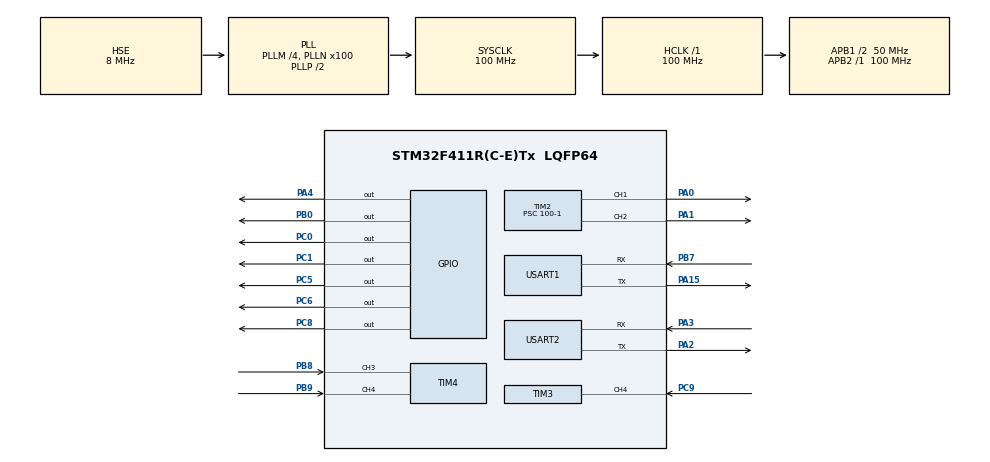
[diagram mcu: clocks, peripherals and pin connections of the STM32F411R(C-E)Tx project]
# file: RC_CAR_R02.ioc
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Mcu.Family=STM32F4
Mcu.Name=STM32F411R(C-E)Tx
Mcu.Package=LQFP64
NVIC.PriorityGroup=NVIC_PRIORITYGROUP_4
NVIC.TIM3_IRQn=true\:0\:0\:false\:false\:true\:true\:true\:true
NVIC.TIM4_IRQn=true\:0\:0\:false\:false\:true\:true\:true\:true
NVIC.USART2_IRQn=true\:0\:0\:false\:false\:true\:true\:true\:true
PA0-WKUP.Signal=S_TIM2_CH1_ETR
PA1.Signal=S_TIM2_CH2
PA13.Mode=Serial_Wire
PA13.Signal=SYS_JTMS-SWDIO
PA14.Mode=Serial_Wire
PA14.Signal=SYS_JTCK-SWCLK
PA15.Mode=Asynchronous
PA15.Signal=USART1_TX
PA2.Mode=Asynchronous
PA2.Signal=USART2_TX
PA3.Mode=Asynchronous
PA3.Signal=USART2_RX
PA4.Signal=GPIO_Output
PB0.Signal=GPIO_Output
PB7.Mode=Asynchronous
PB7.Signal=USART1_RX
PB8.Signal=S_TIM4_CH3
PB9.Signal=S_TIM4_CH4
PC0.Signal=GPIO_Output
PC1.Signal=GPIO_Output
PC5.Signal=GPIO_Output
PC6.Signal=GPIO_Output
PC8.Signal=GPIO_Output
PC9.Signal=S_TIM3_CH4
PH0\ -\ OSC_IN.Mode=HSE-External-Clock-Source
PH0\ -\ OSC_IN.Signal=RCC_OSC_IN
PH1\ -\ OSC_OUT.Mode=HSE-External-Clock-Source
PH1\ -\ OSC_OUT.Signal=RCC_OSC_OUT
ProjectManager.HeapSize=0x200
ProjectManager.StackSize=0x400
ProjectManager.TargetToolchain=STM32CubeIDE
RCC.48MHZClocksFreq_Value=50000000
RCC.AHBFreq_Value=100000000
RCC.APB1CLKDivider=RCC_HCLK_DIV2
RCC.APB1Freq_Value=50000000
RCC.APB1TimFreq_Value=100000000
RCC.APB2Freq_Value=100000000
RCC.APB2TimFreq_Value=100000000
RCC.CortexFreq_Value=100000000
RCC.HCLKFreq_Value=100000000
RCC.HSE_VALUE=8000000
RCC.HSI_VALUE=16000000
RCC.LSE_VALUE=32768
RCC.PLLM=4
RCC.PLLN=100
RCC.PLLSourceVirtual=RCC_PLLSOURCE_HSE
RCC.SYSCLKFreq_VALUE=100000000
RCC.SYSCLKSource=RCC_SYSCLKSOURCE_PLLCLK
RCC.VCOOutputFreq_Value=200000000
SH.S_TIM2_CH1_ETR.0=TIM2_CH1,PWM Generation1 CH1
SH.S_TIM2_CH2.0=TIM2_CH2,PWM Generation2 CH2
SH.S_TIM3_CH4.0=TIM3_CH4,Input_Capture4_from_TI4
SH.S_TIM4_CH3.0=TIM4_CH3,Input_Capture3_from_TI3
SH.S_TIM4_CH4.0=TIM4_CH4,Input_Capture4_from_TI4
TIM11.Prescaler=100-1
TIM2.Channel-PWM\ Generation1\ CH1=TIM_CHANNEL_1
TIM2.Channel-PWM\ Generation2\ CH2=TIM_CHANNEL_2
TIM2.Period=1000-1
TIM2.Prescaler=100-1
TIM3.Channel-Input_Capture4_from_TI4=TIM_CHANNEL_4
TIM3.ICFilter_CH4=0
TIM3.Prescaler=100-1
TIM4.Channel-Input_Capture3_from_TI3=TIM_CHANNEL_3
TIM4.Channel-Input_Capture4_from_TI4=TIM_CHANNEL_4
USART1.VirtualMode=VM_ASYNC
USART2.VirtualMode=VM_ASYNC
VP_TIM11_VS_ClockSourceINT.Mode=Enable_Timer
VP_TIM2_VS_ClockSourceINT.Mode=Internal
board=custom

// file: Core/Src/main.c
/* USER CODE BEGIN Header */
/**
  ******************************************************************************
  * @file           : main.c
  * @brief          : Main program body
  ******************************************************************************
  * @attention
  *
  * Copyright (c) 2026 STMicroelectronics.
  * All rights reserved.
  *
  * This software is licensed under terms that can be found in the LICENSE file
  * in the root directory of this software component.
  * If no LICENSE file comes with this software, it is provided AS-IS.
  *
  ******************************************************************************
  */
/* USER CODE END Header */
#include "main.h"
#include "tim.h"
#include "usart.h"
#include "gpio.h"

/* USER CODE BEGIN Includes */

#include "car.h"
#include "direction.h"
#include "speed.h"
#include "delay.h"

/* USER CODE END Includes */

void SystemClock_Config(void);

int main(void)
{

  /* MCU Configuration--------------------------------------------------------*/

  /* Reset of all peripherals, Initializes the Flash interface and the Systick. */
  HAL_Init();

  /* Configure the system clock */
  SystemClock_Config();

  /* Initialize all configured peripherals */
  MX_GPIO_Init();
  MX_TIM2_Init();
  MX_USART2_UART_Init();
  MX_TIM3_Init();
  MX_TIM4_Init();
  MX_TIM11_Init();
  MX_USART1_UART_Init();
  /* USER CODE BEGIN 2 */

  // 1) speed 모듈에 TIM2 채널 연결
  Speed_Init(&htim2, TIM_CHANNEL_1, &htim2, TIM_CHANNEL_2);

  // 2) PWM Start + 초기 STOP
  Car_Init();

  /* USER CODE END 2 */

  /* Infinite loop */
  /* USER CODE BEGIN WHILE */
  while (1)
  {

	  // 1) 정지
	  Car_Stop();
	  HAL_Delay(700);

	  // 2) 전진 (30/50/70/100 순서)
	  Car_Move(CAR_FRONT, SPD_30);
	  HAL_Delay(1000);
	  Car_Move(CAR_FRONT, SPD_50);
	  HAL_Delay(1000);
	  Car_Move(CAR_FRONT, SPD_70);
	  HAL_Delay(1000);
	  Car_Move(CAR_FRONT, SPD_100);
	  HAL_Delay(1200);

	  Car_Stop();
	  HAL_Delay(700);

	  // 3) 후진
	  Car_Move(CAR_BACK, SPD_50);
	  HAL_Delay(1500);

	  Car_Stop();
	  HAL_Delay(700);

	  // 4) 제자리(또는 단순) 좌/우 회전 (요구대로 50/0, 0/50)
	  Car_Move(CAR_LEFT, SPD_70);   // speed 인자는 무시되지만 시그니처 맞춰 넣음
	  HAL_Delay(900);
	  Car_Stop();
	  HAL_Delay(400);

	  Car_Move(CAR_RIGHT, SPD_70);
	  HAL_Delay(900);
	  Car_Stop();
	  HAL_Delay(700);

	  // 5) 대각 전진
	  Car_Move(CAR_LEFTFRONT, SPD_70);   // 좌 50 / 우 70
	  HAL_Delay(1200);
	  Car_Stop();
	  HAL_Delay(400);

	  Car_Move(CAR_RIGHTFRONT, SPD_70);  // 좌 70 / 우 50
	  HAL_Delay(1200);
	  Car_Stop();
	  HAL_Delay(700);

	  // 6) 대각 후진
	  Car_Move(CAR_LEFTBACK, SPD_70);
	  HAL_Delay(1200);
	  Car_Stop();
	  HAL_Delay(400);

	  Car_Move(CAR_RIGHTBACK, SPD_70);
	  HAL_Delay(1200);

	  // 루프 끝 정지
	  Car_Stop();
	  HAL_Delay(1500);

    /* USER CODE END WHILE */

  }
}

void SystemClock_Config(void)
{
  RCC_OscInitTypeDef RCC_OscInitStruct = {0};
  RCC_ClkInitTypeDef RCC_ClkInitStruct = {0};

  /** Configure the main internal regulator output voltage
  */
  __HAL_RCC_PWR_CLK_ENABLE();
  __HAL_PWR_VOLTAGESCALING_CONFIG(PWR_REGULATOR_VOLTAGE_SCALE1);

  /** Initializes the RCC Oscillators according to the specified parameters
  * in the RCC_OscInitTypeDef structure.
  */
  RCC_OscInitStruct.OscillatorType = RCC_OSCILLATORTYPE_HSE;
  RCC_OscInitStruct.HSEState = RCC_HSE_BYPASS;
  RCC_OscInitStruct.PLL.PLLState = RCC_PLL_ON;
  RCC_OscInitStruct.PLL.PLLSource = RCC_PLLSOURCE_HSE;
  RCC_OscInitStruct.PLL.PLLM = 4;
  RCC_OscInitStruct.PLL.PLLN = 100;
  RCC_OscInitStruct.PLL.PLLP = RCC_PLLP_DIV2;
  RCC_OscInitStruct.PLL.PLLQ = 4;
  if (HAL_RCC_OscConfig(&RCC_OscInitStruct) != HAL_OK)
  {
    Error_Handler();
  }

  /** Initializes the CPU, AHB and APB buses clocks
  */
  RCC_ClkInitStruct.ClockType = RCC_CLOCKTYPE_HCLK|RCC_CLOCKTYPE_SYSCLK
                              |RCC_CLOCKTYPE_PCLK1|RCC_CLOCKTYPE_PCLK2;
  RCC_ClkInitStruct.SYSCLKSource = RCC_SYSCLKSOURCE_PLLCLK;
  RCC_ClkInitStruct.AHBCLKDivider = RCC_SYSCLK_DIV1;
  RCC_ClkInitStruct.APB1CLKDivider = RCC_HCLK_DIV2;
  RCC_ClkInitStruct.APB2CLKDivider = RCC_HCLK_DIV1;

  if (HAL_RCC_ClockConfig(&RCC_ClkInitStruct, FLASH_LATENCY_3) != HAL_OK)
  {
    Error_Handler();
  }
}

void Error_Handler(void)
{
  __disable_irq();
  while (1)
  {
  }
}
